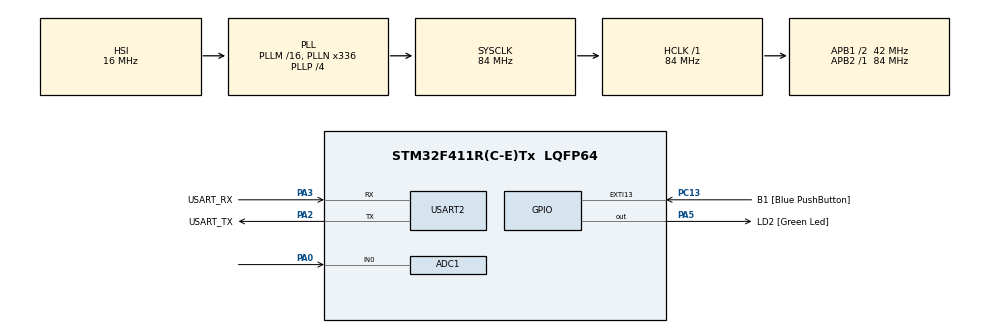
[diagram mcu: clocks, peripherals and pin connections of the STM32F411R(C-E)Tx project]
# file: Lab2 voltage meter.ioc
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ADC1.Channel-0\#ChannelRegularConversion=ADC_CHANNEL_0
ADC1.Channel-1\#ChannelRegularConversion=ADC_CHANNEL_TEMPSENSOR
ADC1.ContinuousConvMode=ENABLE
ADC1.DMAContinuousRequests=ENABLE
ADC1.EOCSelection=ADC_EOC_SEQ_CONV
ADC1.NbrOfConversion=2
ADC1.NbrOfConversionFlag=1
ADC1.Rank-0\#ChannelRegularConversion=1
ADC1.Rank-1\#ChannelRegularConversion=2
ADC1.SamplingTime-0\#ChannelRegularConversion=ADC_SAMPLETIME_56CYCLES
ADC1.SamplingTime-1\#ChannelRegularConversion=ADC_SAMPLETIME_56CYCLES
ADC1.ScanConvMode=ENABLE
ADC1.master=1
Dma.ADC1.0.Direction=DMA_PERIPH_TO_MEMORY
Dma.ADC1.0.FIFOMode=DMA_FIFOMODE_DISABLE
Dma.ADC1.0.Instance=DMA2_Stream0
Dma.ADC1.0.MemDataAlignment=DMA_MDATAALIGN_HALFWORD
Dma.ADC1.0.MemInc=DMA_MINC_ENABLE
Dma.ADC1.0.Mode=DMA_CIRCULAR
Dma.ADC1.0.PeriphDataAlignment=DMA_PDATAALIGN_HALFWORD
Dma.ADC1.0.PeriphInc=DMA_PINC_DISABLE
Dma.ADC1.0.Priority=DMA_PRIORITY_LOW
Dma.Request0=ADC1
Mcu.Family=STM32F4
Mcu.Name=STM32F411R(C-E)Tx
Mcu.Package=LQFP64
NVIC.ADC_IRQn=true\:0\:0\:false\:false\:true\:true\:true\:true
NVIC.DMA2_Stream0_IRQn=true\:0\:0\:false\:false\:true\:false\:true\:true
NVIC.EXTI15_10_IRQn=true\:0\:0\:false\:false\:true\:true\:true\:true
NVIC.PriorityGroup=NVIC_PRIORITYGROUP_0
PA0-WKUP.Signal=ADCx_IN0
PA13.GPIO_Label=TMS
PA13.Mode=Serial_Wire
PA13.Signal=SYS_JTMS-SWDIO
PA14.GPIO_Label=TCK
PA14.Mode=Serial_Wire
PA14.Signal=SYS_JTCK-SWCLK
PA2.GPIO_Label=USART_TX
PA2.Mode=Asynchronous
PA2.Signal=USART2_TX
PA3.GPIO_Label=USART_RX
PA3.Mode=Asynchronous
PA3.Signal=USART2_RX
PA5.GPIO_Label=LD2 [Green Led]
PA5.Signal=GPIO_Output
PB3.GPIO_Label=SWO
PB3.Signal=SYS_JTDO-SWO
PC13-ANTI_TAMP.GPIO_Label=B1 [Blue PushButton]
PC13-ANTI_TAMP.GPIO_ModeDefaultEXTI=GPIO_MODE_IT_FALLING
PC13-ANTI_TAMP.Signal=GPXTI13
PC14-OSC32_IN.Mode=LSE-External-Oscillator
PC14-OSC32_IN.Signal=RCC_OSC32_IN
PC15-OSC32_OUT.Mode=LSE-External-Oscillator
PC15-OSC32_OUT.Signal=RCC_OSC32_OUT
PH0\ -\ OSC_IN.Mode=HSE-External-Clock-Source
PH0\ -\ OSC_IN.Signal=RCC_OSC_IN
PH1\ -\ OSC_OUT.Mode=HSE-External-Clock-Source
PH1\ -\ OSC_OUT.Signal=RCC_OSC_OUT
ProjectManager.HeapSize=0x200
ProjectManager.StackSize=0x400
ProjectManager.TargetToolchain=STM32CubeIDE
RCC.48MHZClocksFreq_Value=84000000
RCC.AHBFreq_Value=84000000
RCC.APB1CLKDivider=RCC_HCLK_DIV2
RCC.APB1Freq_Value=42000000
RCC.APB1TimFreq_Value=84000000
RCC.APB2Freq_Value=84000000
RCC.APB2TimFreq_Value=84000000
RCC.CortexFreq_Value=84000000
RCC.FLatency-AdvancedSettings=FLASH_LATENCY_2
RCC.HCLKFreq_Value=84000000
RCC.HSE_VALUE=8000000
RCC.HSI_VALUE=16000000
RCC.PLLN=336
RCC.PLLP=RCC_PLLP_DIV4
RCC.SYSCLKFreq_VALUE=84000000
RCC.SYSCLKSource=RCC_SYSCLKSOURCE_PLLCLK
RCC.VCOOutputFreq_Value=336000000
SH.ADCx_IN0.0=ADC1_IN0,IN0
USART2.VirtualMode=VM_ASYNC
VP_ADC1_TempSens_Input.Mode=IN-TempSens
board=NUCLEO-F411RE

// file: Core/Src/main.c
/* USER CODE BEGIN Header */
/**
  ******************************************************************************
  * @file           : main.c
  * @brief          : Main program body
  ******************************************************************************
  * @attention
  *
  * Copyright (c) 2023 STMicroelectronics.
  * All rights reserved.
  *
  * This software is licensed under terms that can be found in the LICENSE file
  * in the root directory of this software component.
  * If no LICENSE file comes with this software, it is provided AS-IS.
  *
  ******************************************************************************
  */
/* USER CODE END Header */
#include "main.h"

ADC_HandleTypeDef hadc1;
DMA_HandleTypeDef hdma_adc1;

UART_HandleTypeDef huart2;

/* USER CODE BEGIN PV */
typedef struct
{
	uint16_t voltage;
	uint16_t temp;

} adcDMAStructure;

adcDMAStructure adcDMA[10];

uint16_t AVG_voltage = 0;
uint16_t AVG_temp = 0;
uint16_t sum_temp = 0;
uint16_t sum_voltage = 0;
uint16_t Vin_mV = 0;
uint16_t Vin_mV_T = 0;
uint16_t temp_K = 0;

/* USER CODE END PV */

void SystemClock_Config(void);
static void MX_GPIO_Init(void);
static void MX_DMA_Init(void);
static void MX_USART2_UART_Init(void);
static void MX_ADC1_Init(void);

int main(void)
{

  /* MCU Configuration--------------------------------------------------------*/

  /* Reset of all peripherals, Initializes the Flash interface and the Systick. */
  HAL_Init();

  /* Configure the system clock */
  SystemClock_Config();

  /* Initialize all configured peripherals */
  MX_GPIO_Init();
  MX_DMA_Init();
  MX_USART2_UART_Init();
  MX_ADC1_Init();

  /* Infinite loop */
  /* USER CODE BEGIN WHILE */
  while (1)
  {
	  static uint32_t timestamp = 0;
	  if(HAL_GetTick() >= timestamp){
		  timestamp = HAL_GetTick() + 1000;
	  }

	  for (int i = 0; i < 10; ++i) {
		  sum_voltage += adcDMA[i].voltage;
		  sum_temp += adcDMA[i].temp;
	}
	  AVG_voltage = sum_voltage/10;
	  AVG_temp = sum_temp/10;
	  Vin_mV = ((AVG_voltage*3.3)/4095)*1000*2;
	  Vin_mV_T = ((AVG_temp*3.3)/4095)*1000;
	  temp_K = ((Vin_mV_T - 760)/25)+25+273;
	  sum_voltage = 0;
	  sum_temp = 0;

    /* USER CODE END WHILE */

  }
}

void SystemClock_Config(void)
{
  RCC_OscInitTypeDef RCC_OscInitStruct = {0};
  RCC_ClkInitTypeDef RCC_ClkInitStruct = {0};

  /** Configure the main internal regulator output voltage
  */
  __HAL_RCC_PWR_CLK_ENABLE();
  __HAL_PWR_VOLTAGESCALING_CONFIG(PWR_REGULATOR_VOLTAGE_SCALE1);

  /** Initializes the RCC Oscillators according to the specified parameters
  * in the RCC_OscInitTypeDef structure.
  */
  RCC_OscInitStruct.OscillatorType = RCC_OSCILLATORTYPE_HSI;
  RCC_OscInitStruct.HSIState = RCC_HSI_ON;
  RCC_OscInitStruct.HSICalibrationValue = RCC_HSICALIBRATION_DEFAULT;
  RCC_OscInitStruct.PLL.PLLState = RCC_PLL_ON;
  RCC_OscInitStruct.PLL.PLLSource = RCC_PLLSOURCE_HSI;
  RCC_OscInitStruct.PLL.PLLM = 16;
  RCC_OscInitStruct.PLL.PLLN = 336;
  RCC_OscInitStruct.PLL.PLLP = RCC_PLLP_DIV4;
  RCC_OscInitStruct.PLL.PLLQ = 4;
  if (HAL_RCC_OscConfig(&RCC_OscInitStruct) != HAL_OK)
  {
    Error_Handler();
  }

  /** Initializes the CPU, AHB and APB buses clocks
  */
  RCC_ClkInitStruct.ClockType = RCC_CLOCKTYPE_HCLK|RCC_CLOCKTYPE_SYSCLK
                              |RCC_CLOCKTYPE_PCLK1|RCC_CLOCKTYPE_PCLK2;
  RCC_ClkInitStruct.SYSCLKSource = RCC_SYSCLKSOURCE_PLLCLK;
  RCC_ClkInitStruct.AHBCLKDivider = RCC_SYSCLK_DIV1;
  RCC_ClkInitStruct.APB1CLKDivider = RCC_HCLK_DIV2;
  RCC_ClkInitStruct.APB2CLKDivider = RCC_HCLK_DIV1;

  if (HAL_RCC_ClockConfig(&RCC_ClkInitStruct, FLASH_LATENCY_2) != HAL_OK)
  {
    Error_Handler();
  }
}

static void MX_ADC1_Init(void)
{

  ADC_ChannelConfTypeDef sConfig = {0};

  /** Configure the global features of the ADC (Clock, Resolution, Data Alignment and number of conversion)
  */
  hadc1.Instance = ADC1;
  hadc1.Init.ClockPrescaler = ADC_CLOCK_SYNC_PCLK_DIV4;
  hadc1.Init.Resolution = ADC_RESOLUTION_12B;
  hadc1.Init.ScanConvMode = ENABLE;
  hadc1.Init.ContinuousConvMode = ENABLE;
  hadc1.Init.DiscontinuousConvMode = DISABLE;
  hadc1.Init.ExternalTrigConvEdge = ADC_EXTERNALTRIGCONVEDGE_NONE;
  hadc1.Init.ExternalTrigConv = ADC_SOFTWARE_START;
  hadc1.Init.DataAlign = ADC_DATAALIGN_RIGHT;
  hadc1.Init.NbrOfConversion = 2;
  hadc1.Init.DMAContinuousRequests = ENABLE;
  hadc1.Init.EOCSelection = ADC_EOC_SEQ_CONV;
  if (HAL_ADC_Init(&hadc1) != HAL_OK)
  {
    Error_Handler();
  }

  /** Configure for the selected ADC regular channel its corresponding rank in the sequencer and its sample time.
  */
  sConfig.Channel = ADC_CHANNEL_0;
  sConfig.Rank = 1;
  sConfig.SamplingTime = ADC_SAMPLETIME_56CYCLES;
  if (HAL_ADC_ConfigChannel(&hadc1, &sConfig) != HAL_OK)
  {
    Error_Handler();
  }

  /** Configure for the selected ADC regular channel its corresponding rank in the sequencer and its sample time.
  */
  sConfig.Channel = ADC_CHANNEL_TEMPSENSOR;
  sConfig.Rank = 2;
  if (HAL_ADC_ConfigChannel(&hadc1, &sConfig) != HAL_OK)
  {
    Error_Handler();
  }

}

static void MX_USART2_UART_Init(void)
{

  huart2.Instance = USART2;
  huart2.Init.BaudRate = 115200;
  huart2.Init.WordLength = UART_WORDLENGTH_8B;
  huart2.Init.StopBits = UART_STOPBITS_1;
  huart2.Init.Parity = UART_PARITY_NONE;
  huart2.Init.Mode = UART_MODE_TX_RX;
  huart2.Init.HwFlowCtl = UART_HWCONTROL_NONE;
  huart2.Init.OverSampling = UART_OVERSAMPLING_16;
  if (HAL_UART_Init(&huart2) != HAL_OK)
  {
    Error_Handler();
  }

}

static void MX_DMA_Init(void)
{

  /* DMA controller clock enable */
  __HAL_RCC_DMA2_CLK_ENABLE();

  /* DMA interrupt init */
  /* DMA2_Stream0_IRQn interrupt configuration */
  HAL_NVIC_SetPriority(DMA2_Stream0_IRQn, 0, 0);
  HAL_NVIC_EnableIRQ(DMA2_Stream0_IRQn);

}

static void MX_GPIO_Init(void)
{
  GPIO_InitTypeDef GPIO_InitStruct = {0};

  /* GPIO Ports Clock Enable */
  __HAL_RCC_GPIOC_CLK_ENABLE();
  __HAL_RCC_GPIOH_CLK_ENABLE();
  __HAL_RCC_GPIOA_CLK_ENABLE();
  __HAL_RCC_GPIOB_CLK_ENABLE();

  /*Configure GPIO pin Output Level */
  HAL_GPIO_WritePin(LD2_GPIO_Port, LD2_Pin, GPIO_PIN_RESET);

  /*Configure GPIO pin : B1_Pin */
  GPIO_InitStruct.Pin = B1_Pin;
  GPIO_InitStruct.Mode = GPIO_MODE_IT_FALLING;
  GPIO_InitStruct.Pull = GPIO_NOPULL;
  HAL_GPIO_Init(B1_GPIO_Port, &GPIO_InitStruct);

  /*Configure GPIO pin : LD2_Pin */
  GPIO_InitStruct.Pin = LD2_Pin;
  GPIO_InitStruct.Mode = GPIO_MODE_OUTPUT_PP;
  GPIO_InitStruct.Pull = GPIO_NOPULL;
  GPIO_InitStruct.Speed = GPIO_SPEED_FREQ_LOW;
  HAL_GPIO_Init(LD2_GPIO_Port, &GPIO_InitStruct);

  /* EXTI interrupt init*/
  HAL_NVIC_SetPriority(EXTI15_10_IRQn, 0, 0);
  HAL_NVIC_EnableIRQ(EXTI15_10_IRQn);

}

/* USER CODE BEGIN 4 */
void HAL_GPIO_EXTI_Callback(uint16_t GPIO_Pin)
{
	if(GPIO_Pin == GPIO_PIN_13)
	{
//		HAL_ADC_Start_IT(&hadc1);
		HAL_ADC_Start_DMA(&hadc1, adcDMA, 20);
	}
}
void HAL_ADC_ConvCpltCallback(ADC_HandleTypeDef* hadc)
{
//	adcRawData = HAL_ADC_GetValue(&hadc1);
}

/* USER CODE END 4 */

void Error_Handler(void)
{
  __disable_irq();
  while (1)
  {
  }
}
